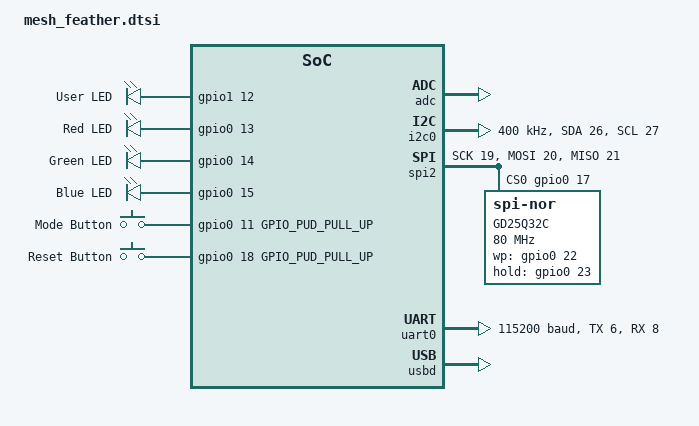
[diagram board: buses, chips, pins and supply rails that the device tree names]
/*
 * Copyright (c) 2018 Endre Karlson
 * Copyright (c) 2018 Peter Bigot Consulting, LLC
 *
 * SPDX-License-Identifier: Apache-2.0
 */

/* Assignments common to all Feather-based Particle mesh boards.
 *
 * NOTE: This file is replicated in particle_{argon,boron,xenon}.
 * Changes should be made in all instances. */

/ {
	aliases {
		led0 = &user_led;
		led1 = &status_red;
		led2 = &status_green;
		led3 = &status_blue;
		sw0 = &mode_button;
		sw1 = &reset_button;
	};

	chosen {
		zephyr,console = &uart0;
		zephyr,uart-mcumgr = &uart0;
		zephyr,shell-uart = &uart0;
		zephyr,sram = &sram0;
		zephyr,flash = &flash0;
	};

	leds {
		compatible = "gpio-leds";
		user_led: led_0 {
			gpios = <&gpio1 12 0>;
			label = "User LED";
		};
		status_red: led_1 {
			gpios = <&gpio0 13 0>;
			label = "Red LED";
		};
		status_green: led_2 {
			gpios = <&gpio0 14 0>;
			label = "Green LED";
		};
		status_blue: led_3 {
			gpios = <&gpio0 15 0>;
			label = "Blue LED";
		};
	};

	gpio_keys {
		compatible = "gpio-keys";
		mode_button: button_0 {
			gpios = <&gpio0 11 GPIO_PUD_PULL_UP>;
			label = "Mode Button";
		};

		reset_button: button_1 {
			gpios = <&gpio0 18 GPIO_PUD_PULL_UP>;
			label = "Reset Button";
		};
	};
};

&adc { /* feather ADC */
	status = "ok";
};


&flash0 {
	partitions {
		compatible = "fixed-partitions";
		#address-cells = <1>;
		#size-cells = <1>;

		boot_partition: partition@0 {
			label = "mcuboot";
			reg = <0x000000000 0x0000C000>;
		};
		slot0_partition: partition@c000 {
			label = "image-0";
			reg = <0x0000C000 0x000069000>;
		};
		slot1_partition: partition@75000 {
			label = "image-1";
			reg = <0x00075000 0x000069000>;
		};
		scratch_partition: partition@de000 {
			label = "image-scratch";
			reg = <0x000de000 0x0001e000>;
		};

		storage_partition: partition@fc000 {
			label = "storage";
			reg = <0x000fc000 0x00004000>;
		};
	};
};

&gpio0 {
	status ="ok";
};

&gpio1 {
	status ="ok";
};

&gpiote {
	status ="ok";
};

&i2c0 { /* feather I2C */
	status = "ok";
	clock-frequency = <I2C_BITRATE_FAST>;
	sda-pin = <26>;
	scl-pin = <27>;
};

/* TWI1 used on Boron; also see mesh_feather_spi1_spi1.dtsi */

&spi2 { /* dedicated MX25L */
	status = "ok";
	sck-pin = <19>;
	mosi-pin = <20>;
	miso-pin = <21>;
	cs-gpios = <&gpio0 17 0>;
	gd25q32c@0 {
		compatible = "jedec,spi-nor";
		label = "GD25Q32C";
		reg = <0>;
		spi-max-frequency = <80000000>;
		wp-gpios = <&gpio0 22 0>;
		hold-gpios = <&gpio0 23 0>;
		jedec-id = <0xc2 0x20 0x16>;
	};
};

/* see mesh_feather_spi1_spi3.dtsi */

&uart0 { /* feather UART1 */
	compatible = "nordic,nrf-uarte";
	current-speed = <115200>;
	status = "ok";
	tx-pin = <6>;
	rx-pin = <8>;
	/* optional mesh_feather_uart1_rtscts.dtsi */
};

&usbd {
	compatible = "nordic,nrf-usbd";
	status = "ok";
};
